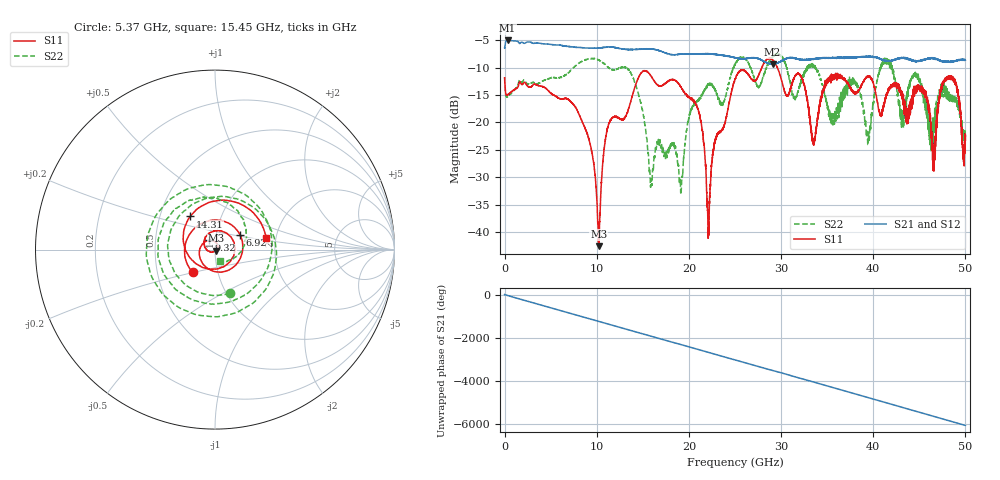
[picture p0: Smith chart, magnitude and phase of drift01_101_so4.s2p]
!Created with skrf (http://scikit-rf.org).
# Hz S RI R 50.0
!freq ReS11 ImS11 ReS21 ImS21 ReS12 ImS12 ReS22 ImS22
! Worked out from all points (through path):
!   10001 points, 300 kHz to 50 GHz, reference 50 ohm
!   highest |S21| = -5.05 dB at 325.3 MHz (marker M1); lowest = -9.4 dB at 29.08 GHz (marker M2)
!   group delay of S21, straight-line fit = 336 ps
!   lowest |S11| = -42.6 dB at 10.22 GHz (marker M3), VSWR 1.01, Z = 50.5 - j0.566 ohm
!   |S11| at or under -10 dB: start of sweep to 27.91 GHz; 29.6 GHz to end of sweep
!   |S22| runs from -33.0 to -7.5 dB; largest |S21 - S12| = 0.015
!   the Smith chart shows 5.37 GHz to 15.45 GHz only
!   S11 on the Smith chart (normalised r, x): 5.37 GHz: 0.76, -0.20; 6.92 GHz: 1.30, +0.22; 9.32 GHz: 0.93, +0.10; 14.31 GHz: 0.71, +0.28; 15.45 GHz: 1.78, +0.24
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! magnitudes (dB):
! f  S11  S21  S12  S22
! 300 kHz  -11.9  -6.4  -6.5  -11.8
! 325.3 MHz  -15.0  -5.1  -5.1  -15.3
! 5.37 GHz  -15.0  -5.9  -5.9  -11.8
! 6.92 GHz  -15.9  -6.2  -6.1  -11.0
! 8.335 GHz  -19.5  -6.4  -6.4  -8.9
! 9.32 GHz  -24.2  -6.5  -6.4  -8.4
! 10.22 GHz  -42.6  -6.4  -6.4  -8.6
! 11.23 GHz  -20.7  -6.3  -6.3  -9.9
! 14.31 GHz  -12.7  -6.7  -6.7  -13.6
! 15.45 GHz  -10.7  -6.6  -6.6  -23.0
! 16.67 GHz  -13.3  -6.9  -6.8  -23.4
! 19.14 GHz  -13.6  -7.5  -7.6  -32.9
! 20.86 GHz  -17.0  -7.5  -7.5  -16.2
! 22.12 GHz  -40.7  -7.5  -7.5  -13.3
! 25 GHz  -12.1  -8.2  -8.2  -9.6
! 29.08 GHz  -8.6  -9.4  -9.4  -8.0
! 33.34 GHz  -22.2  -8.5  -8.4  -9.5
! 39.47 GHz  -11.6  -8.0  -8.0  -22.1
! 41.67 GHz  -13.9  -8.8  -8.8  -9.3
! 46.55 GHz  -26.1  -8.2  -8.3  -19.4
! 48.56 GHz  -12.1  -8.8  -8.8  -15.4
! 50 GHz  -23.2  -8.7  -8.6  -23.0
